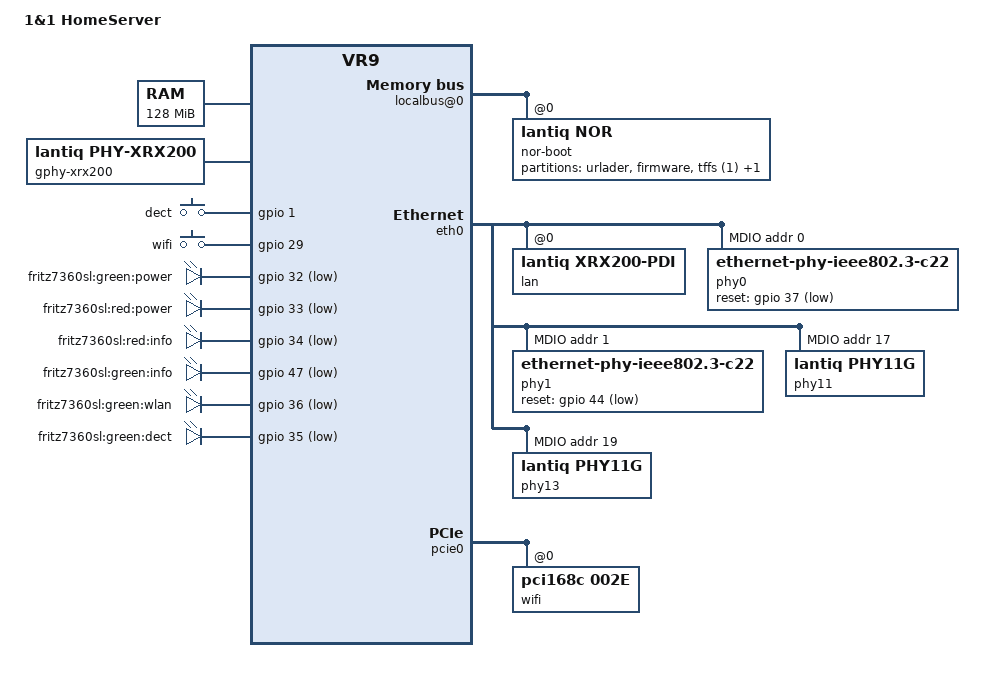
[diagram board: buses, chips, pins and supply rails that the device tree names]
/dts-v1/;

#include "vr9.dtsi"

#include <dt-bindings/input/input.h>

/ {
	compatible = "avm,fritz7360sl", "lantiq,xway", "lantiq,vr9";
	model = "1&1 HomeServer";

	chosen {
		bootargs = "console=ttyLTQ0,115200";
	};

	aliases {
		led-boot = &power_green;
		led-failsafe = &power_red;
		led-running = &power_green;

		led-dsl = &info_green;
		led-wifi = &wifi;
	};

	memory@0 {
		reg = <0x0 0x8000000>;
	};

	fpi@10000000 {
		localbus@0 {
			nor-boot@0 {
				compatible = "lantiq,nor";
				bank-width = <2>;
				reg = <0 0x0 0x1000000>;
				#address-cells = <1>;
				#size-cells = <1>;
				partitions {
					compatible = "fixed-partitions";
					#address-cells = <1>;
					#size-cells = <1>;
					urlader: partition@0 {
						label = "urlader";
						reg = <0x00000 0x20000>;
						read-only;
					};

					partition@20000 {
						label = "firmware";
						reg = <0x20000 0xf60000>;
					};

					partition@f80000 {
						label = "tffs (1)";
						reg = <0xf80000 0x40000>;
						read-only;
					};

					partition@fc0000 {
						label = "tffs (2)";
						reg = <0xfc0000 0x40000>;
						read-only;
					};
				};
			};
		};

		gpio: pinmux@E100B10 {
			pinctrl-names = "default";
			pinctrl-0 = <&state_default>;

			state_default: pinmux {
				mdio {
					lantiq,groups = "mdio";
					lantiq,function = "mdio";
				};
				phy-rst {
					lantiq,pins = "io37", "io44";
					lantiq,pull = <0>;
					lantiq,open-drain;
					lantiq,output = <1>;
				};
				pcie-rst {
					lantiq,pins = "io38";
					lantiq,pull = <0>;
					lantiq,output = <1>;
				};
			};
		};

		ifxhcd@E101000 {
			status = "okay";
			lantiq,portmask = <0x3>;
		};

		ifxhcd@E106000 {
			status = "okay";
		};
	};

	gphy-xrx200 {
		compatible = "lantiq,phy-xrx200";
		firmware = "lantiq/vr9_phy11g_a2x.bin";
		phys = [ 00 01 ];
	};

	gpio-keys-polled {
		compatible = "gpio-keys-polled";
		#address-cells = <1>;
		#size-cells = <0>;
		poll-interval = <100>;
		dect {
			label = "dect";
			gpios = <&gpio 1 GPIO_ACTIVE_HIGH>;
			linux,code = <KEY_PHONE>;
		};
		wifi {
			label = "wifi";
			gpios = <&gpio 29 GPIO_ACTIVE_HIGH>;
			linux,code = <KEY_WLAN>;
		};
	};

	gpio-leds {
		compatible = "gpio-leds";

		power_green: power {
			label = "fritz7360sl:green:power";
			gpios = <&gpio 32 GPIO_ACTIVE_LOW>;
			default-state = "keep";
		};
		power_red: power2 {
			label = "fritz7360sl:red:power";
			gpios = <&gpio 33 GPIO_ACTIVE_LOW>;
		};
		info_red {
			label = "fritz7360sl:red:info";
			gpios = <&gpio 34 GPIO_ACTIVE_LOW>;
		};
		info_green: info_green {
			label = "fritz7360sl:green:info";
			gpios = <&gpio 47 GPIO_ACTIVE_LOW>;
		};
		wifi: wifi {
			label = "fritz7360sl:green:wlan";
			gpios = <&gpio 36 GPIO_ACTIVE_LOW>;
		};
		dect {
			label = "fritz7360sl:green:dect";
			gpios = <&gpio 35 GPIO_ACTIVE_LOW>;
		};
	};
};

&eth0 {
	lan: interface@0 {
		compatible = "lantiq,xrx200-pdi";
		#address-cells = <1>;
		#size-cells = <0>;
		reg = <0>;
		mtd-mac-address = <&urlader 0xa91>;
		mtd-mac-address-increment = <(-2)>;
		lantiq,switch;

		ethernet@0 {
			compatible = "lantiq,xrx200-pdi-port";
			reg = <0>;
			phy-mode = "rmii";
			phy-handle = <&phy0>;
		};
		ethernet@1 {
			compatible = "lantiq,xrx200-pdi-port";
			reg = <1>;
			phy-mode = "rmii";
			phy-handle = <&phy1>;
		};
		ethernet@2 {
			compatible = "lantiq,xrx200-pdi-port";
			reg = <2>;
			phy-mode = "gmii";
			phy-handle = <&phy11>;
		};
		ethernet@3 {
			compatible = "lantiq,xrx200-pdi-port";
			reg = <4>;
			phy-mode = "gmii";
			phy-handle = <&phy13>;
		};
	};

	mdio@0 {
		#address-cells = <1>;
		#size-cells = <0>;
		compatible = "lantiq,xrx200-mdio";
		phy0: ethernet-phy@0 {
			reg = <0x00>;
			compatible = "ethernet-phy-ieee802.3-c22";
			reset-gpios = <&gpio 37 GPIO_ACTIVE_LOW>;
		};
		phy1: ethernet-phy@1 {
			reg = <0x01>;
			compatible = "ethernet-phy-ieee802.3-c22";
			reset-gpios = <&gpio 44 GPIO_ACTIVE_LOW>;
		};
		phy11: ethernet-phy@11 {
			reg = <0x11>;
			compatible = "lantiq,phy11g", "ethernet-phy-ieee802.3-c22";
		};
		phy13: ethernet-phy@13 {
			reg = <0x13>;
			compatible = "lantiq,phy11g", "ethernet-phy-ieee802.3-c22";
		};
	};
};

&pcie0 {
	pcie@0 {
		reg = <0 0 0 0 0>;
		#interrupt-cells = <1>;
		#size-cells = <2>;
		#address-cells = <3>;
		device_type = "pci";

		wifi@168c,002e {
			compatible = "pci168c,002e";
			reg = <0 0 0 0 0>;
			qca,no-eeprom; /* load from ath9k-eeprom-pci-0000:01:00.0.bin */
		};
	};
};
